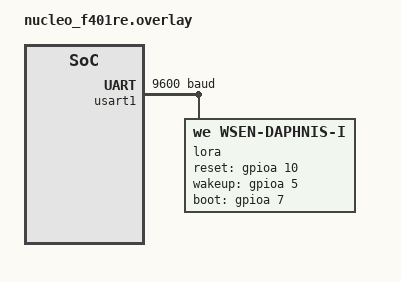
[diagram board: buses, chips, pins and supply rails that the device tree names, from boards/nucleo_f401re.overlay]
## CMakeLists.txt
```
# SPDX-License-Identifier: Apache-2.0

cmake_minimum_required(VERSION 3.28.0)

find_package(Zephyr REQUIRED HINTS $ENV{ZEPHYR_BASE})
project(lora_receive)

FILE(GLOB app_sources src/*.c)
target_sources(app PRIVATE ${app_sources})
```

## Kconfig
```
# Copyright (c) 2026 RAKwireless Technology Limited
# SPDX-License-Identifier: Apache-2.0

mainmenu "LoRa receive sample application"

config SAMPLE_LORA_GFSK
	bool "Receive over the GFSK modem"
	depends on LORA_GFSK
	help
	  Set the radio up for the 50 kbps FSK that LoRaWAN defines as DR7 and
	  receive over that modem rather than the LoRa one.

source "Kconfig.zephyr"
```

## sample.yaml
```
common:
  tags: lora
  depends_on: lora
  harness: console
  harness_config:
    type: one_line
    regex:
      - "<inf> lora_receive: Synchronous reception"
sample:
  description: Demonstration of LoRa Receive functionality
  name: LoRa Receive Sample
tests:
  sample.drivers.lora.receive:
    integration_platforms:
      - b_l072z_lrwan1
  sample.drivers.lora.receive.lbm:
    filter: dt_compat_enabled("semtech,sx1261") or
      dt_compat_enabled("semtech,sx1262") or
      dt_compat_enabled("semtech,sx1272") or
      dt_compat_enabled("semtech,sx1276")
    integration_platforms:
      - b_l072z_lrwan1
      - rak11720
    extra_configs:
      - CONFIG_LORA_MODULE_BACKEND_LORA_BASICS_MODEM=y
  sample.drivers.lora.receive.native:
    build_only: true
    extra_args:
      - SHIELD=semtech_sx1261mb2bas
    extra_configs:
      - CONFIG_LORA_MODULE_BACKEND_NATIVE=y
    platform_allow:
      - nrf52840dk/nrf52840
  sample.drivers.lora.receive.native.stm32wl:
    filter: dt_compat_enabled("st,stm32wl-subghz-radio")
    build_only: true
    extra_configs:
      - CONFIG_LORA_MODULE_BACKEND_NATIVE=y
    integration_platforms:
      - nucleo_wl55jc
```

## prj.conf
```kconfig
CONFIG_LOG=y
CONFIG_SPI=y
CONFIG_GPIO=y
CONFIG_LORA=y
CONFIG_PRINTK=y
```

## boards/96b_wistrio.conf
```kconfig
CONFIG_SPI_1=y
```

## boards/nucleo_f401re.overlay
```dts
/ {
	aliases {
		lora0 = &lora;
	};
};

&usart1 {
	current-speed = <9600>;
	lora: daphnis-i {
		status = "okay";
		compatible = "we,wsen-daphnis-i";
		reset-gpios = <&gpioa 10 GPIO_ACTIVE_HIGH>;
		wakeup-gpios = <&gpioa 5 GPIO_ACTIVE_HIGH>;
		boot-gpios = <&gpioa 7 GPIO_ACTIVE_HIGH>;
	};
};
```

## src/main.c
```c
/*
 * Copyright (c) 2019 Manivannan Sadhasivam
 *
 * SPDX-License-Identifier: Apache-2.0
 */

#include <zephyr/device.h>
#include <zephyr/drivers/lora.h>
#include <errno.h>
#include <zephyr/sys/util.h>
#include <zephyr/kernel.h>

#define DEFAULT_RADIO_NODE DT_ALIAS(lora0)
BUILD_ASSERT(DT_NODE_HAS_STATUS_OKAY(DEFAULT_RADIO_NODE),
	     "No default LoRa radio specified in DT");

#define MAX_DATA_LEN 255

#define LOG_LEVEL CONFIG_LOG_DEFAULT_LEVEL
#include <zephyr/logging/log.h>
LOG_MODULE_REGISTER(lora_receive);

void lora_receive_cb(const struct device *dev, uint8_t *data, uint16_t size,
		     int16_t rssi, int8_t snr, void *user_data)
{
	static int cnt;

	ARG_UNUSED(dev);
	ARG_UNUSED(size);
	ARG_UNUSED(user_data);

	LOG_INF("LoRa RX RSSI: %d dBm, SNR: %d dB", rssi, snr);
	LOG_HEXDUMP_INF(data, size, "LoRa RX payload");

	/* Stop receiving after 10 packets */
	if (++cnt == 10) {
		LOG_INF("Stopping packet receptions");
		lora_recv_async(dev, NULL, NULL);
	}
}

int main(void)
{
	const struct device *const lora_dev = DEVICE_DT_GET(DEFAULT_RADIO_NODE);
#ifdef CONFIG_SAMPLE_LORA_GFSK
	struct lora_modem_config_gfsk config = {0};
#else
	struct lora_modem_config config = {0};
#endif
	int ret, len;
	uint8_t data[MAX_DATA_LEN] = {0};
	int16_t rssi;
	int8_t snr;

	if (!device_is_ready(lora_dev)) {
		LOG_ERR("%s Device not ready", lora_dev->name);
		return 0;
	}

#ifdef CONFIG_SAMPLE_LORA_GFSK
	/* The 50 kbps FSK that LoRaWAN defines as DR7. A backend whose library
	 * writes the sync word, the pulse shape and the whitening itself takes
	 * these and nothing else. GFSK reports no signal-to-noise ratio, so
	 * the SNR below reads zero.
	 */
	config.frequency = 865100000;
	config.bitrate = 50000;
	config.freq_deviation = 25000;
	config.bandwidth = 100000;
	config.pulse_shape = LORA_GFSK_PULSE_SHAPE_BT_1_0;
	config.sync_word[0] = 0xC1;
	config.sync_word[1] = 0x94;
	config.sync_word[2] = 0xC1;
	config.sync_word_len = 3;
	config.preamble_len = 5;
	config.whitening = true;
	config.tx_power = 14;
	config.tx = false;

	ret = lora_config_gfsk(lora_dev, &config);
#else
	config.frequency = 865100000;
	config.bandwidth = BW_125_KHZ;
	config.datarate = SF_10;
	config.preamble_len = 8;
	config.coding_rate = CR_4_5;
	config.iq_inverted = false;
	config.public_network = false;
	config.tx_power = 14;
	config.tx = false;

	ret = lora_config(lora_dev, &config);
#endif
	if (ret < 0) {
		LOG_ERR("LoRa config failed");
		return 0;
	}

	/* Receive 4 packets synchronously */
	LOG_INF("Synchronous reception");
	for (int i = 0; i < 4; i++) {
		/* Block until data arrives */
		len = lora_recv(lora_dev, data, MAX_DATA_LEN, K_NO_WAIT, K_FOREVER,
				&rssi, &snr);
		if (len < 0) {
			LOG_ERR("LoRa receive failed");
			return 0;
		}

		LOG_INF("LoRa RX RSSI: %d dBm, SNR: %d dB", rssi, snr);
		LOG_HEXDUMP_INF(data, len, "LoRa RX payload");
	}

	/* Enable asynchronous reception */
	LOG_INF("Asynchronous reception");
	lora_recv_async(lora_dev, lora_receive_cb, NULL);
	k_sleep(K_FOREVER);
	return 0;
}
```
